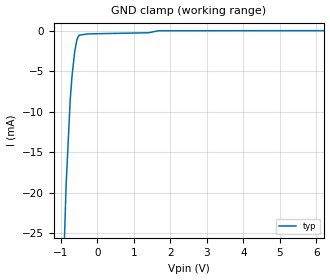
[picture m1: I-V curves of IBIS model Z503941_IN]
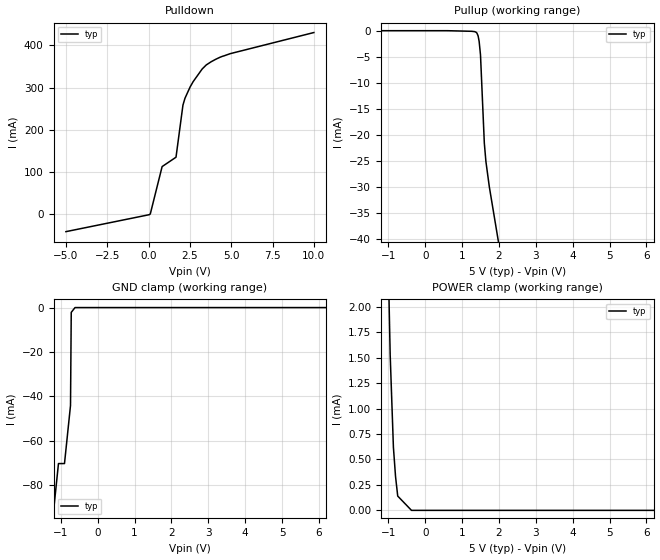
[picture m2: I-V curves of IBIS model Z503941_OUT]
| YOU ARE ONLY AUTHORIZED TO USE THIS SOFTWARE
| ACCORDING TO LICENSOR'S LICENSE RESTRICTIONS.
[IBIS Ver] 3.1
[File Name] mc54f64j.ibs
[File Rev] 2.0
[Source] Measured and created by ICX Technology
[Date] Friday 7/14/00 9:08:03 AM
[Copyright]
| (C) COPYRIGHT 1993-2000
| MENTOR GRAPHICS CORPORATION
| ICX STANDARD LIBRARY, ICX PROJECT MODELING,
| ICX CUSTOM MODELING, ICX VENDOR MODEL
| ALL RIGHTS RESERVED.
| THE FOLLOWING ARE TRADEMARKS OR SERVICE MARKS OF
| MENTOR GRAPHICS CORPORATION:ICX (R), ICX STANDARD
| LIBRARY(R), ICX PROJECT MODELING(R), ICX CUSTOM
| MODELING(R), qualityIBIS(TM), MODELVIEWER(TM),
| AND MODELEDITOR(TM)
| ALL COPIES OF SOFTWARE, INCLUDING BUT NOT LIMITED TO
| ANY MODIFICATIONS, ENHANCEMENTS OR DERIVATIVE WORKS,
| MUST CONTAIN ALL MENTOR GRAPHICS CORPORATION'S
| NOTICES AND LEGENDS, INCLUDING THOSE EMBEDDED IN
| SOFTWARE AND THOSE AFFIXED TO SOFTWARE MEDIUM
| AND CONTAINER, AS RECEIVED FROM MENTOR GRAPHICS
| CORPORATION.
|  ZAP Model Builder 2.7
[Component] MC54F64J
[Manufacturer] OnSemiconductor
[Package]
| variable   typ   min   max
R_pkg  .21ohms NA NA
L_pkg  4.543nH NA NA
C_pkg  1.8pF NA NA
[Pin] signal_name  model_name  R_pin  L_pin C_pin
1 A Z503941_IN .22 6.757n 2.434p
2 E Z503941_IN .212 4.757n 1.941p
3 F Z503941_IN .204 3.257n 1.448p
4 G Z503941_IN .196 2.257n .955p
5 H Z503941_IN .204 3.257n 1.448p
6 I Z503941_IN .212 4.757n 1.941p
7 GND GND .22 6.757n 2.434p
8 _Y Z503941_OUT .22 6.757n 2.434p
9 J Z503941_IN .212 4.757n 1.941p
10 K Z503941_IN .204 3.257n 1.448p
11 B Z503941_IN .196 2.257n .955p
12 C Z503941_IN .204 3.257n 1.448p
13 D Z503941_IN .212 4.757n 1.941p
14 VCC POWER .22 6.757n 2.434p
| Models and submodels in the file (2): Z503941_IN (Input), Z503941_OUT (Output)
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| (C) COPYRIGHT 1993-2000
| MENTOR GRAPHICS CORPORATION
| ICX STANDARD LIBRARY, ICX PROJECT MODELING,
| ICX CUSTOM MODELING, ICX VENDOR MODEL
| ALL RIGHTS RESERVED.
| THE FOLLOWING ARE TRADEMARKS OR SERVICE MARKS OF
| MENTOR GRAPHICS CORPORATION:ICX (R), ICX STANDARD
| LIBRARY(R), ICX PROJECT MODELING(R), ICX CUSTOM
| MODELING(R), qualityIBIS(TM), MODELVIEWER(TM),
| AND MODELEDITOR(TM)
| ALL COPIES OF SOFTWARE, INCLUDING BUT NOT LIMITED TO
| ANY MODIFICATIONS, ENHANCEMENTS OR DERIVATIVE WORKS,
| MUST CONTAIN ALL MENTOR GRAPHICS CORPORATION'S
| NOTICES AND LEGENDS, INCLUDING THOSE EMBEDDED IN
| SOFTWARE AND THOSE AFFIXED TO SOFTWARE MEDIUM
| AND CONTAINER, AS RECEIVED FROM MENTOR GRAPHICS
| CORPORATION.
| Model Application Version 1.89 2/18/99.
[Model] Z503941_IN
Model_type Input
Vinl = 800.0mV
Vinh = 2.000V
C_comp 4.000pF NA NA
| variable typ   min   max
[Voltage Range] 5.000V NA NA
[GND Clamp Reference] 0.000V NA NA
[POWER Clamp Reference] 5.000V NA NA
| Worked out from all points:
|   GND clamp passes 1 mA (typ) near -0.55 V on its own axis
[GND Clamp]
-5V       -616.7mA   NA         NA
-854.5mV  -18.98mA   NA         NA
-742.1mV  -8.47mA    NA         NA
-693.4mV  -5.598mA   NA         NA
-620.2mV  -2.586mA   NA         NA
-559.1mV  -1.079mA   NA         NA
-501.3mV  -549.8uA   NA         NA
-250.6mV  -393.8uA   NA         NA
1.41V     -253.1uA   NA         NA
1.665V    -7.291uA   NA         NA
10V       15.01uA    NA         NA
[POWER Clamp]
-5V       0A         NA         NA
10V       0A         NA         NA
| (C) COPYRIGHT 1993-2000
| MENTOR GRAPHICS CORPORATION
| ICX STANDARD LIBRARY, ICX PROJECT MODELING,
| ICX CUSTOM MODELING, ICX VENDOR MODEL
| ALL RIGHTS RESERVED.
| THE FOLLOWING ARE TRADEMARKS OR SERVICE MARKS OF
| MENTOR GRAPHICS CORPORATION:ICX (R), ICX STANDARD
| LIBRARY(R), ICX PROJECT MODELING(R), ICX CUSTOM
| MODELING(R), qualityIBIS(TM), MODELVIEWER(TM),
| AND MODELEDITOR(TM)
| ALL COPIES OF SOFTWARE, INCLUDING BUT NOT LIMITED TO
| ANY MODIFICATIONS, ENHANCEMENTS OR DERIVATIVE WORKS,
| MUST CONTAIN ALL MENTOR GRAPHICS CORPORATION'S
| NOTICES AND LEGENDS, INCLUDING THOSE EMBEDDED IN
| SOFTWARE AND THOSE AFFIXED TO SOFTWARE MEDIUM
| AND CONTAINER, AS RECEIVED FROM MENTOR GRAPHICS
| CORPORATION.
| Model Application Version 1.89 2/18/99.
[Model] Z503941_OUT
Model_type Output
Vref=0.000V
Rref=500.0ohms
Cref=50.00pF
Vmeas=1.500V
C_comp 8.000pF NA NA
| variable typ   min   max
[Voltage Range] 5.000V NA NA
[POWER Clamp Reference] 5.000V NA NA
[Pullup Reference] 5.000V NA NA
[Pulldown Reference] 0.000V NA NA
[GND Clamp Reference] 0.000V NA NA
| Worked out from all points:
|   slope of the pulldown table from 0 to 0.75 V, typ, clamps not added: 7.26 ohm
|   slope of the pullup table from 0 to 0.75 V, typ, clamps not added: 29.1 kohm
|   GND clamp passes 1 mA (typ) near -0.66 V on its own axis
|   POWER clamp passes 1 mA (typ) near -0.90 V on its own axis
[GND Clamp]
-5V       -1.535A    NA         NA
-1.211V   -93.63mA   NA         NA
-1.066V   -70.32mA   NA         NA
-902.5mV  -70.32mA   NA         NA
-739.1mV  -44.12mA   NA         NA
-719.3mV  -2.167mA   NA         NA
-616.5mV  0A         NA         NA
10V       0A         NA         NA
[Pulldown]
-5V       -41.58mA   NA         NA
107.3mV   817.9uA    NA         NA
820.5mV   112.7mA    NA         NA
1.66V     134.9mA    NA         NA
2.08V     258.4mA    NA         NA
2.203V    274.7mA    NA         NA
2.698V    314.1mA    NA         NA
3.244V    344.1mA    NA         NA
3.491V    353.7mA    NA         NA
4.311V    371.7mA    NA         NA
4.938V    380.4mA    NA         NA
10V       430.5mA    NA         NA
[Pullup]
-5V       17.4uA     NA         NA
606mV     17.4uA     NA         NA
1.343V    -166.1uA   NA         NA
1.401V    -431.8uA   NA         NA
1.434V    -979.1uA   NA         NA
1.462V    -2.021mA   NA         NA
1.499V    -4.63mA    NA         NA
1.603V    -21.58mA   NA         NA
1.646V    -25.1mA    NA         NA
1.738V    -29.93mA   NA         NA
10V       -382.3mA   NA         NA
[POWER Clamp]
-5V       86.23mA    NA         NA
-1.089V   3.919mA    NA         NA
-952mV    1.532mA    NA         NA
-864mV    620uA      NA         NA
-806mV    331.1uA    NA         NA
-747mV    140.3uA    NA         NA
-373.5mV  0A         NA         NA
10V       0A         NA         NA
[Ramp]
| variable typ min max
dV/dt_r 2.041/5.084n NA NA
dV/dt_f 2.041/350.5p NA NA
R_load = 500.0Ohms
